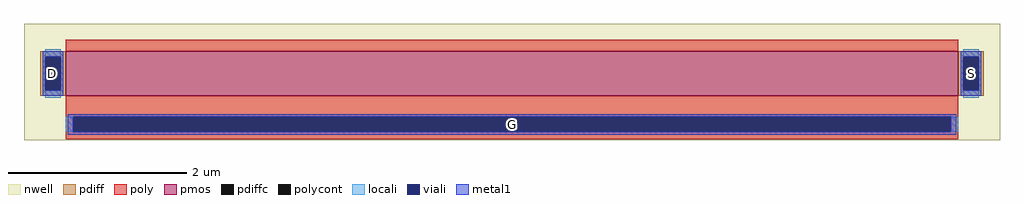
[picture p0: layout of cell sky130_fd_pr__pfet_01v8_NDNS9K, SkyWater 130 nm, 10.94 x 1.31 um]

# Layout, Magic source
magic
tech sky130A
magscale 1 2
<< nwell >>
rect -1094 -114 1094 148
<< pmos >>
rect -1000 -14 1000 86
<< pdiff >>
rect -1058 74 -1000 86
rect -1058 -2 -1046 74
rect -1012 -2 -1000 74
rect -1058 -14 -1000 -2
rect 1000 74 1058 86
rect 1000 -2 1012 74
rect 1046 -2 1058 74
rect 1000 -14 1058 -2
<< pdiffc >>
rect -1046 -2 -1012 74
rect 1012 -2 1046 74
<< poly >>
rect -1000 86 1000 112
rect -1000 -61 1000 -14
rect -1000 -95 -984 -61
rect 984 -95 1000 -61
rect -1000 -111 1000 -95
<< polycont >>
rect -984 -95 984 -61
<< locali >>
rect -1046 74 -1012 90
rect -1046 -18 -1012 -2
rect 1012 74 1046 90
rect 1012 -18 1046 -2
rect -1000 -95 -984 -61
rect 984 -95 1000 -61
<< viali >>
rect -1046 -2 -1012 74
rect 1012 -2 1046 74
rect -984 -95 984 -61
<< metal1 >>
rect -1052 74 -1006 86
rect -1052 -2 -1046 74
rect -1012 -2 -1006 74
rect -1052 -14 -1006 -2
rect 1006 74 1052 86
rect 1006 -2 1012 74
rect 1046 -2 1052 74
rect 1006 -14 1052 -2
rect -996 -61 996 -55
rect -996 -95 -984 -61
rect 984 -95 996 -61
rect -996 -101 996 -95
<< labels >>
rlabel pdiffc -1029 36 -1029 36 0 D
port 1 nsew
rlabel pdiffc 1029 36 1029 36 0 S
port 2 nsew
rlabel polycont 0 -78 0 -78 0 G
port 3 nsew
<< properties >>
string gencell sky130_fd_pr__pfet_01v8
string library sky130
string parameters w 0.5 l 10 m 1 nf 1 diffcov 100 polycov 100 guard 0 glc 0 grc 0 gtc 0 gbc 0 tbcov 100 rlcov 100 topc 0 botc 1 poverlap 0 doverlap 1 lmin 0.15 wmin 0.42 class mosfet compatible {sky130_fd_pr__pfet_01v8  sky130_fd_pr__pfet_01v8_lvt sky130_fd_pr__pfet_01v8_hvt  sky130_fd_pr__pfet_g5v0d10v5} full_metal 0 conn_gates 0 viasrc 100 viadrn 100 viagate 100 viagb 0 viagr 0 viagl 0 viagt 0 doports 1
<< end >>
